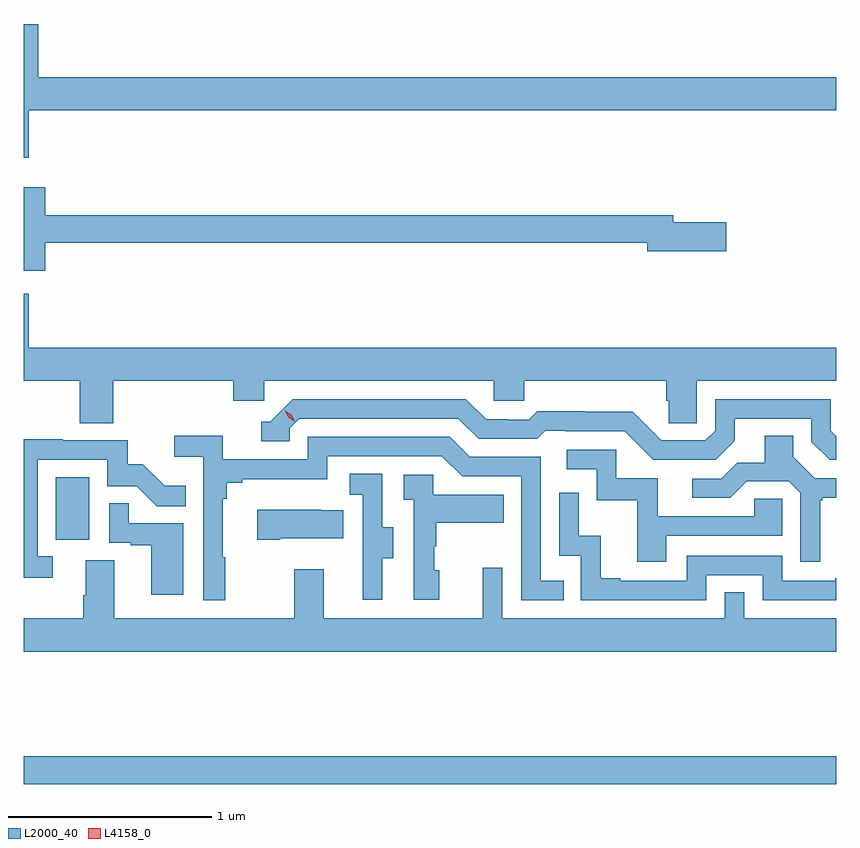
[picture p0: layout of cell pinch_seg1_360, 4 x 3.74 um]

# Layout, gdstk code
import gdstk
lib = gdstk.Library(unit=1e-6, precision=1e-09)
def R(c, l, rs):  # rectangles x0, y0, x1, y1
    for r in rs: c.add(gdstk.rectangle(r[:2], r[2:], *l))
def P(c, l, *ps):  # polygons
    for p in ps: c.add(gdstk.Polygon(p, *l))
L2000_40 = (2000, 40)
L4158_0 = (4158, 0)

pinch_seg1_360 = lib.new_cell('pinch_seg1_360')
R(pinch_seg1_360, L2000_40, [(951.041,536.428,955.041,536.564), (951.2,537.63,951.364,537.937)])
P(pinch_seg1_360, L2000_40, [(951.065,539.744),(955.041,539.744),(955.041,539.908),(951.113,539.908),(951.113,540.169),(951.041,540.169),(951.041,539.511),(951.065,539.511)],
  [(951.148,539.092),(954.11,539.092),(954.11,539.05),(954.499,539.05),(954.499,539.192),(954.238,539.192),(954.238,539.228),(951.148,539.228),(951.148,539.365),(951.041,539.365),(951.041,538.955),(951.148,538.955)],
  [(951.482,538.412),(952.073,538.412),(952.073,538.314),(952.224,538.314),(952.224,538.412),(953.355,538.412),(953.355,538.314),(953.505,538.314),(953.505,538.412),(954.203,538.412),(954.203,538.314),(954.217,538.314),(954.217,538.204),(954.354,538.204),(954.354,538.412),(955.041,538.412),(955.041,538.576),(951.065,538.576),(951.065,538.84),(951.041,538.84),(951.041,538.412),(951.317,538.412),(951.317,538.204),(951.482,538.204)],
  [(954.541,538.117),(954.541,538.227),(954.918,538.227),(954.918,538.113),(955.008,538.023),(955.041,538.023),(955.041,538.14),(955.014,538.167),(955.014,538.323),(954.444,538.323),(954.444,538.167),(954.396,538.119),(954.18,538.119),(954.038,538.261),(953.802,538.261),(953.802,538.264),(953.569,538.264),(953.527,538.221),(953.424,538.221),(953.424,538.224),(953.317,538.224),(953.218,538.323),(952.365,538.323),(952.254,538.212),(952.211,538.212),(952.211,538.116),(952.35,538.116),(952.35,538.179),(952.398,538.227),(953.181,538.227),(953.28,538.128),(953.569,538.128),(953.608,538.167),(953.707,538.167),(953.707,538.164),(954,538.164),(954.141,538.023),(954.447,538.023)],
  [(954.961,537.825),(954.973,537.825),(954.973,537.836),(955.041,537.836),(955.041,537.933),(954.936,537.933),(954.829,538.04),(954.829,538.142),(954.689,538.142),(954.689,538.01),(954.554,538.01),(954.474,537.93),(954.333,537.93),(954.333,537.837),(954.52,537.837),(954.601,537.918),(954.807,537.918),(954.864,537.861),(954.864,537.522),(954.961,537.522)],
  [(952.033,537.545),(952.021,537.545),(952.021,537.833),(952.04,537.833),(952.04,537.91),(952.117,537.91),(952.117,537.929),(952.536,537.929),(952.536,538.041),(953.1,538.041),(953.199,537.942),(953.49,537.942),(953.49,537.333),(953.699,537.333),(953.699,537.429),(953.586,537.429),(953.586,538.038),(953.236,538.038),(953.137,538.137),(952.44,538.137),(952.44,538.026),(952.022,538.026),(952.022,538.142),(951.783,538.142),(951.783,538.04),(951.924,538.04),(951.924,537.333),(952.033,537.333)],
  [(951.184,537.549),(951.111,537.549),(951.111,538.023),(951.453,538.023),(951.453,537.894),(951.597,537.894),(951.695,537.796),(951.839,537.796),(951.839,537.895),(951.735,537.895),(951.628,538.002),(951.552,538.002),(951.552,538.119),(951.233,538.119),(951.233,538.124),(951.041,538.124),(951.041,537.444),(951.184,537.444)],
  [(954.205,537.651),(954.774,537.651),(954.774,537.831),(954.637,537.831),(954.637,537.747),(954.163,537.747),(954.163,537.933),(953.958,537.933),(953.958,538.074),(953.715,538.074),(953.715,537.978),(953.862,537.978),(953.862,537.825),(954.061,537.825),(954.061,537.522),(954.205,537.522)],
  [(952.807,537.538),(952.861,537.538),(952.861,537.693),(952.806,537.693),(952.806,537.956),(952.647,537.956),(952.647,537.853),(952.71,537.853),(952.71,537.549),(952.709,537.549),(952.709,537.336),(952.807,537.336)],
  [(953.086,537.48),(953.061,537.48),(953.061,537.599),(953.071,537.599),(953.071,537.713),(953.405,537.713),(953.405,537.853),(953.058,537.853),(953.058,537.951),(952.911,537.951),(952.911,537.827),(952.962,537.827),(952.962,537.336),(953.086,537.336)],
  [(954.402,537.456),(954.678,537.456),(954.678,537.333),(955.041,537.333),(955.041,537.442),(955.037,537.442),(955.037,537.429),(954.774,537.429),(954.774,537.552),(954.306,537.552),(954.306,537.429),(953.977,537.429),(953.977,537.442),(953.882,537.442),(953.882,537.65),(953.772,537.65),(953.772,537.862),(953.676,537.862),(953.676,537.552),(953.784,537.552),(953.784,537.333),(954.402,537.333)],
  [(951.826,537.711),(951.557,537.711),(951.557,537.809),(951.462,537.809),(951.462,537.615),(951.569,537.615),(951.569,537.603),(951.668,537.603),(951.668,537.36),(951.826,537.36)],
  [(952.303,537.638),(952.613,537.638),(952.613,537.775),(952.505,537.775),(952.505,537.778),(952.191,537.778),(952.191,537.631),(952.303,537.631)],
  [(955.041,537.244),(954.588,537.244),(954.588,537.371),(954.492,537.371),(954.492,537.244),(953.397,537.244),(953.397,537.493),(953.3,537.493),(953.3,537.244),(952.519,537.244),(952.519,537.484),(952.372,537.484),(952.372,537.244),(951.487,537.244),(951.487,537.53),(951.347,537.53),(951.347,537.356),(951.335,537.356),(951.335,537.244),(951.041,537.244),(951.041,537.08),(955.041,537.08)])
P(pinch_seg1_360, L4158_0, [(952.374,538.213),(952.344,538.233),(952.328,538.266),(952.328,538.266),(952.328,538.266),(952.359,538.246),(952.375,538.214),(952.375,538.213)])

lib.write_gds('pinch_seg1_360.gds')
